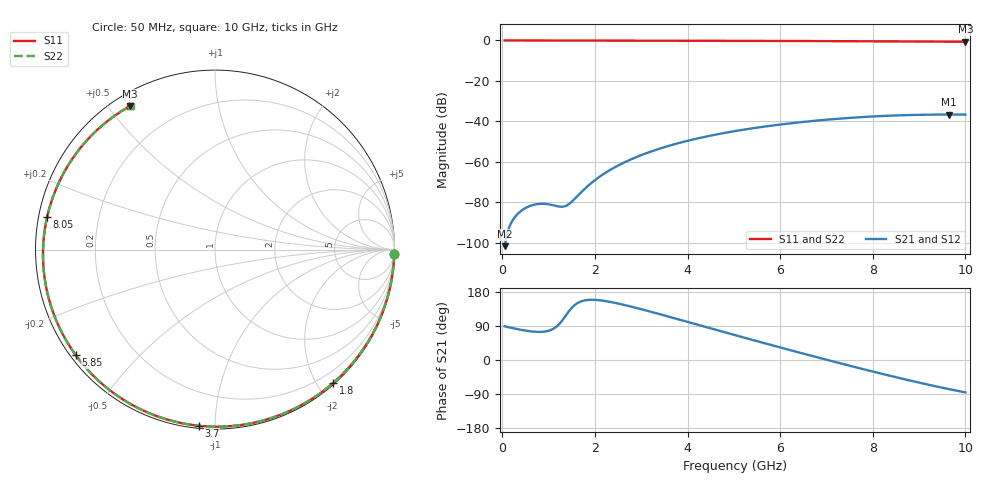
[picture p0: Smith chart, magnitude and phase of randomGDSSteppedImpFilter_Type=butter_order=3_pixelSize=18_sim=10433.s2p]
! freq	dB(S11)	phase(S11)	dB(S12)	phase(S12)
!  dB(S21)	phase(S21)	dB(S22)	phase(S22)
!S-par simulation data
#  GHz  S  DB  R 50
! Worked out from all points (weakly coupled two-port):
!   200 points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, 50 MHz to 10 GHz, reference 50 ohm
!   highest |S21| = -36.62 dB at 9.65 GHz (marker M1); lowest = -101.7 dB at 50 MHz (marker M2)
!   lowest |S11| = -0.6 dB at 10 GHz (marker M3), VSWR 27.23, Z = 2.43 + j28.5 ohm
!   |S11| at or under -10 dB: nowhere
!   |S22| runs from -0.6 to 0.0 dB; largest |S21 - S12| = 0
!   S11 on the Smith chart (normalised r, x): 50 MHz: 1, -85; 1.8 GHz: 0.02, -2.22; 3.7 GHz: 0.01, -0.91; 5.85 GHz: 0.02, -0.34; 8.05 GHz: 0.02, +0.10; 10 GHz: 0.05, +0.57
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0.05  -0.00 -1.3  -101.66 89.0  -101.66 89.0  -0.00 -1.3
0.4  -0.02 -11.0  -84.32 79.8  -84.32 79.8  -0.02 -11.0
0.75  -0.03 -20.6  -80.91 74.2  -80.91 74.2  -0.03 -20.6
1.45  -0.05 -39.3  -80.69 130.5  -80.69 130.5  -0.05 -39.4
1.5  -0.05 -40.7  -79.71 137.7  -79.71 137.7  -0.05 -40.7
1.75  -0.06 -47.2  -73.98 156.4  -73.98 156.4  -0.06 -47.2
1.8  -0.06 -48.5  -72.90 157.7  -72.90 157.7  -0.06 -48.5
2.1  -0.07 -56.2  -67.34 157.7  -67.34 157.7  -0.07 -56.3
2.45  -0.08 -65.1  -62.42 150.4  -62.42 150.4  -0.08 -65.1
2.9  -0.10 -76.2  -57.59 137.3  -57.59 137.3  -0.10 -76.2
3.4  -0.11 -88.2  -53.45 120.9  -53.45 120.9  -0.11 -88.2
3.7  -0.13 -95.2  -51.40 110.8  -51.40 110.8  -0.13 -95.2
4.35  -0.15 -110.0  -47.74 88.6  -47.74 88.6  -0.15 -110.1
5.05  -0.19 -125.5  -44.69 64.8  -44.69 64.8  -0.19 -125.6
5.85  -0.23 -142.9  -41.99 38.1  -41.99 38.1  -0.24 -142.9
6.7  -0.30 -161.2  -39.80 10.3  -39.80 10.3  -0.30 -161.3
7.4  -0.36 -176.5  -38.43 -11.9  -38.43 -11.9  -0.36 -176.6
8.05  -0.42 168.9  -37.51 -32.0  -37.51 -32.0  -0.42 168.7
8.35  -0.45 161.9  -37.19 -41.0  -37.19 -41.0  -0.45 161.8
9  -0.52 146.3  -36.75 -59.7  -36.75 -59.7  -0.52 146.1
9.65  -0.60 129.8  -36.62 -77.0  -36.62 -77.0  -0.60 129.6
10  -0.64 120.5  -36.66 -85.6  -36.66 -85.6  -0.64 120.3
